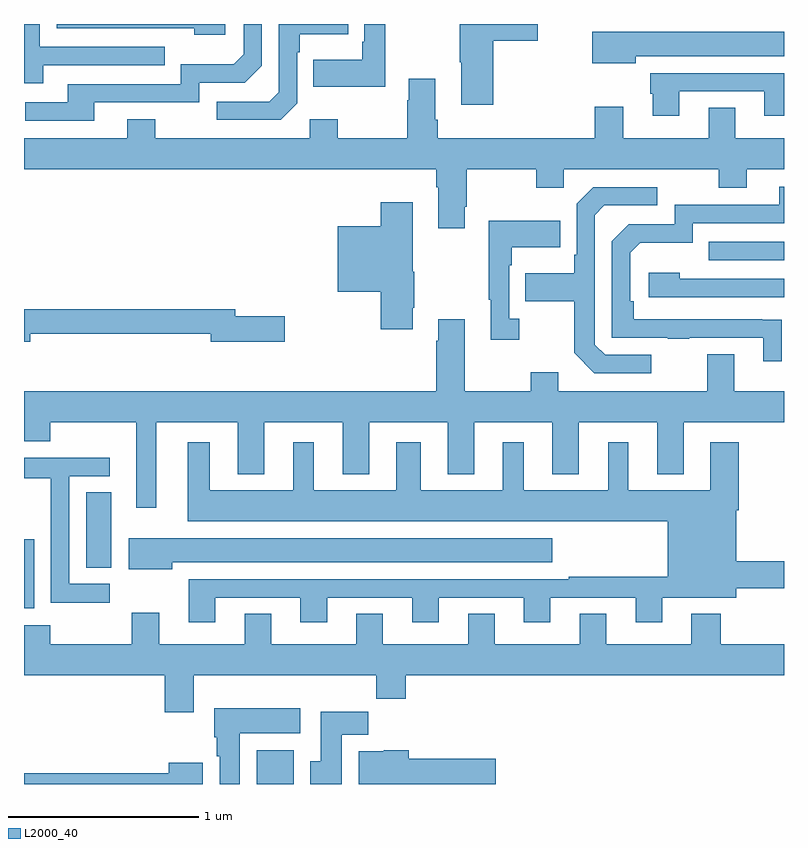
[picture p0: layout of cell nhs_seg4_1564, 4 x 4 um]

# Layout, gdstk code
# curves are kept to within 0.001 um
import gdstk
lib = gdstk.Library(unit=1e-6, precision=1e-09)
def R(c, l, rs):  # rectangles x0, y0, x1, y1
    for r in rs: c.add(gdstk.rectangle(r[:2], r[2:], *l))
def P(c, l, *ps):  # polygons
    for p in ps: c.add(gdstk.Polygon(p, *l))
L2000_40 = (2000, 40)

nhs_seg4_1564 = lib.new_cell('nhs_seg4_1564')
R(nhs_seg4_1564, L2000_40, [(192.224,810.9,192.421,811.078), (191,811.826,191.053,812.187), (191.327,812.038,191.458,812.435), (194.605,813.657,195,813.753)])
P(nhs_seg4_1564, L2000_40, [(192.438,814.482),(192.438,814.751),(192.451,814.751),(192.451,814.847),(192.707,814.847),(192.707,814.9),(192.342,814.9),(192.342,814.542),(192.291,814.491),(192.015,814.491),(192.015,814.395),(192.351,814.395)],
  [(192.901,814.9),(192.792,814.9),(192.792,814.807),(192.78,814.807),(192.78,814.711),(192.523,814.711),(192.523,814.571),(192.901,814.571)],
  [(191.371,814.488),(191.922,814.488),(191.922,814.59),(192.162,814.59),(192.252,814.68),(192.252,814.9),(192.156,814.9),(192.156,814.74),(192.103,814.687),(191.826,814.687),(191.826,814.584),(191.231,814.584),(191.231,814.488),(191.007,814.488),(191.007,814.392),(191.371,814.392)],
  [(192.058,814.9),(191.172,814.9),(191.172,814.878),(191.897,814.878),(191.897,814.844),(192.058,814.844)],
  [(191.101,814.683),(191.741,814.683),(191.741,814.779),(191.082,814.779),(191.082,814.9),(191,814.9),(191,814.589),(191.101,814.589)],
  [(193.469,814.811),(193.705,814.811),(193.705,814.9),(193.294,814.9),(193.294,814.699),(193.301,814.699),(193.301,814.476),(193.469,814.476)],
  [(194.221,814.73),(195,814.73),(195,814.858),(193.992,814.858),(193.992,814.694),(194.221,814.694)],
  [(194.449,814.545),(194.897,814.545),(194.897,814.416),(195,814.416),(195,814.641),(194.297,814.641),(194.297,814.533),(194.309,814.533),(194.309,814.416),(194.449,814.416)],
  [(191.543,814.399),(191.543,814.3),(191,814.3),(191,814.136),(193.169,814.136),(193.169,814.04),(193.181,814.04),(193.181,813.825),(193.321,813.825),(193.321,813.937),(193.329,813.937),(193.329,814.136),(193.696,814.136),(193.696,814.037),(193.842,814.037),(193.842,814.136),(194.656,814.136),(194.656,814.037),(194.803,814.037),(194.803,814.136),(195,814.136),(195,814.3),(194.743,814.3),(194.743,814.46),(194.603,814.46),(194.603,814.3),(194.155,814.3),(194.155,814.465),(194.003,814.465),(194.003,814.3),(193.178,814.3),(193.178,814.396),(193.165,814.396),(193.165,814.612),(193.025,814.612),(193.025,814.499),(193.018,814.499),(193.018,814.3),(192.651,814.3),(192.651,814.399),(192.504,814.399),(192.504,814.3),(191.691,814.3),(191.691,814.399)],
  [(194.987,813.344),(194.21,813.345),(194.21,813.442),(194.19,813.442),(194.19,813.696),(194.243,813.749),(194.52,813.749),(194.52,813.852),(195,813.852),(195,814.044),(194.975,814.044),(194.975,813.948),(194.424,813.948),(194.424,813.846),(194.184,813.846),(194.094,813.756),(194.094,813.249),(194.389,813.249),(194.389,813.244),(194.501,813.244),(194.501,813.249),(194.891,813.249),(194.891,813.126),(194.987,813.126)],
  [(194.302,813.159),(194.058,813.159),(194.004,813.213),(194.004,813.894),(194.055,813.945),(194.332,813.945),(194.332,814.041),(193.995,814.041),(193.908,813.954),(193.908,813.685),(193.896,813.685),(193.896,813.589),(193.639,813.589),(193.639,813.442),(193.896,813.442),(193.896,813.169),(194.001,813.063),(194.302,813.063)],
  [(193.045,813.406),(193.053,813.406),(193.053,813.595),(193.045,813.595),(193.045,813.961),(192.878,813.961),(192.878,813.835),(192.65,813.835),(192.65,813.491),(192.878,813.491),(192.878,813.294),(193.045,813.294)],
  [(193.606,813.35),(193.554,813.35),(193.554,813.629),(193.567,813.629),(193.567,813.725),(193.823,813.725),(193.823,813.865),(193.446,813.865),(193.446,813.449),(193.457,813.449),(193.457,813.237),(193.606,813.237)],
  [(195,813.558),(194.45,813.558),(194.45,813.592),(194.289,813.592),(194.289,813.462),(195,813.462)],
  [(191.032,813.27),(191.984,813.27),(191.984,813.227),(192.373,813.227),(192.373,813.362),(192.112,813.362),(192.112,813.398),(191,813.398),(191,813.227),(191.032,813.227)],
  [(191.695,812.804),(192.125,812.804),(192.125,812.531),(192.265,812.531),(192.265,812.804),(192.677,812.804),(192.677,812.531),(192.817,812.531),(192.817,812.804),(193.229,812.804),(193.229,812.531),(193.369,812.531),(193.369,812.804),(193.781,812.804),(193.781,812.531),(193.921,812.531),(193.921,812.804),(194.333,812.804),(194.333,812.531),(194.473,812.531),(194.473,812.804),(195,812.804),(195,812.968),(194.737,812.968),(194.737,813.163),(194.597,813.163),(194.597,812.968),(193.813,812.968),(193.813,813.067),(193.666,813.067),(193.666,812.968),(193.321,812.968),(193.321,813.346),(193.181,813.346),(193.181,813.233),(193.169,813.233),(193.169,812.968),(191,812.968),(191,812.705),(191.139,812.705),(191.139,812.804),(191.591,812.804),(191.591,812.355),(191.695,812.355)],
  [(192.007,811.881),(192.455,811.881),(192.455,811.752),(192.595,811.752),(192.595,811.881),(193.043,811.881),(193.043,811.752),(193.183,811.752),(193.183,811.881),(193.631,811.881),(193.631,811.752),(193.771,811.752),(193.771,811.881),(194.219,811.881),(194.219,811.752),(194.359,811.752),(194.359,811.88),(194.749,811.88),(194.749,811.93),(195,811.93),(195,812.072),(194.749,812.072),(194.749,812.342),(194.762,812.342),(194.762,812.698),(194.612,812.698),(194.612,812.446),(194.179,812.446),(194.179,812.698),(194.075,812.698),(194.075,812.446),(193.63,812.446),(193.63,812.698),(193.52,812.698),(193.52,812.446),(193.087,812.446),(193.087,812.698),(192.959,812.698),(192.959,812.446),(192.526,812.446),(192.526,812.698),(192.416,812.698),(192.416,812.446),(191.977,812.446),(191.977,812.698),(191.861,812.698),(191.861,812.282),(194.387,812.282),(194.387,811.99),(193.867,811.99),(193.867,811.977),(191.867,811.977),(191.867,811.752),(192.007,811.752)],
  [(191.452,811.953),(191.238,811.953),(191.238,812.52),(191.452,812.52),(191.452,812.616),(191,812.616),(191,812.508),(191.14,812.508),(191.14,812.284),(191.142,812.284),(191.142,811.855),(191.452,811.855)],
  [(191.779,812.066),(193.78,812.066),(193.78,812.194),(191.55,812.194),(191.55,812.03),(191.779,812.03)],
  [(192.853,811.348),(193.01,811.348),(193.01,811.472),(195,811.472),(195,811.636),(194.666,811.636),(194.666,811.795),(194.513,811.795),(194.513,811.636),(194.065,811.636),(194.065,811.796),(193.925,811.796),(193.925,811.636),(193.477,811.636),(193.477,811.796),(193.337,811.796),(193.337,811.636),(192.889,811.636),(192.889,811.796),(192.749,811.796),(192.749,811.636),(192.301,811.636),(192.301,811.796),(192.161,811.796),(192.161,811.636),(191.713,811.636),(191.713,811.801),(191.566,811.801),(191.566,811.636),(191.139,811.636),(191.139,811.735),(191,811.735),(191,811.472),(191.741,811.472),(191.741,811.278),(191.893,811.278),(191.893,811.472),(192.853,811.472)],
  [(192.136,811.166),(192.454,811.166),(192.454,811.3),(192.002,811.3),(192.002,811.146),(192.014,811.146),(192.014,811.046),(192.029,811.046),(192.029,810.9),(192.136,810.9)],
  [(192.673,811.16),(192.812,811.16),(192.812,811.279),(192.563,811.279),(192.563,811.02),(192.506,811.02),(192.506,810.9),(192.673,810.9)],
  [(193.483,811.032),(193.025,811.032),(193.025,811.078),(192.894,811.078),(192.894,811.072),(192.761,811.072),(192.761,810.9),(193.483,810.9)],
  [(191.941,811.012),(191.762,811.012),(191.762,810.956),(191,810.956),(191,810.9),(191.941,810.9)])

lib.write_gds('nhs_seg4_1564.gds')
